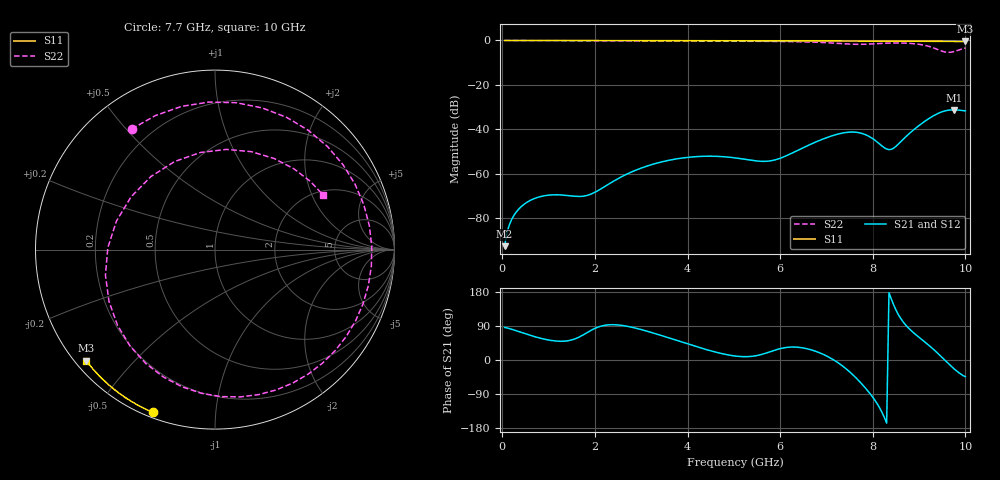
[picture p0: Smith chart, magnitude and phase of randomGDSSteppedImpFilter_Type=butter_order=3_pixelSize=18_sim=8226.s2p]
! freq	dB(S11)	phase(S11)	dB(S12)	phase(S12)
!  dB(S21)	phase(S21)	dB(S22)	phase(S22)
!S-par simulation data
#  GHz  S  DB  R 50
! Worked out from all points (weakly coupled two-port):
!   200 points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, 50 MHz to 10 GHz, reference 50 ohm
!   highest |S21| = -31.25 dB at 9.75 GHz (marker M1); lowest = -92.6 dB at 50 MHz (marker M2)
!   lowest |S11| = -0.5 dB at 10 GHz (marker M3), VSWR 37.03, Z = 1.54 - j18.6 ohm
!   |S11| at or under -10 dB: nowhere
!   |S22| runs from -5.4 to 0.0 dB; largest |S21 - S12| = 0
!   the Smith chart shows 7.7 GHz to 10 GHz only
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0.05  -0.00 -0.8  -92.63 85.9  -92.63 85.9  -0.00 -3.6
0.95  -0.02 -15.2  -69.78 53.9  -69.78 53.9  -0.09 -66.7
1.75  -0.04 -27.8  -70.11 66.4  -70.11 66.4  -0.14 -119.6
2.6  -0.05 -40.8  -61.11 91.0  -61.11 91.0  -0.19 -172.9
3.4  -0.07 -52.8  -54.89 65.9  -54.89 65.9  -0.24 137.5
4.2  -0.09 -64.4  -52.29 34.9  -52.29 34.9  -0.28 87.1
5.05  -0.12 -76.3  -52.94 10.2  -52.94 10.2  -0.33 32.7
5.9  -0.15 -87.8  -53.72 26.5  -53.72 26.5  -0.44 -23.3
6.7  -0.19 -98.3  -46.35 25.7  -46.35 25.7  -0.75 -85.8
7.1  -0.21 -103.4  -43.07 4.3  -43.07 4.3  -1.12 -129.7
7.45  -0.24 -107.9  -41.35 -25.9  -41.35 -25.9  -1.58 175.3
7.65  -0.25 -110.4  -41.36 -48.6  -41.36 -48.6  -1.75 135.3
7.85  -0.27 -112.9  -42.50 -75.3  -42.50 -75.3  -1.70 92.4
8.1  -0.29 -116.0  -45.80 -116.3  -45.80 -116.3  -1.41 42.6
8.35  -0.31 -119.0  -49.16 177.4  -49.16 177.4  -1.18 1.3
8.75  -0.34 -123.9  -42.65 87.1  -42.65 87.1  -1.24 -53.1
9.05  -0.37 -127.6  -37.51 54.8  -37.51 54.8  -1.89 -95.3
9.2  -0.38 -129.4  -35.33 39.9  -35.33 39.9  -2.59 -121.3
9.4  -0.40 -131.8  -32.94 18.0  -32.94 18.0  -4.06 -166.9
9.6  -0.42 -134.3  -31.53 -5.9  -31.53 -5.9  -5.33 131.2
9.75  -0.44 -136.1  -31.25 -22.8  -31.25 -22.8  -5.01 83.4
10  -0.47 -139.2  -31.72 -44.0  -31.72 -44.0  -3.42 27.0
